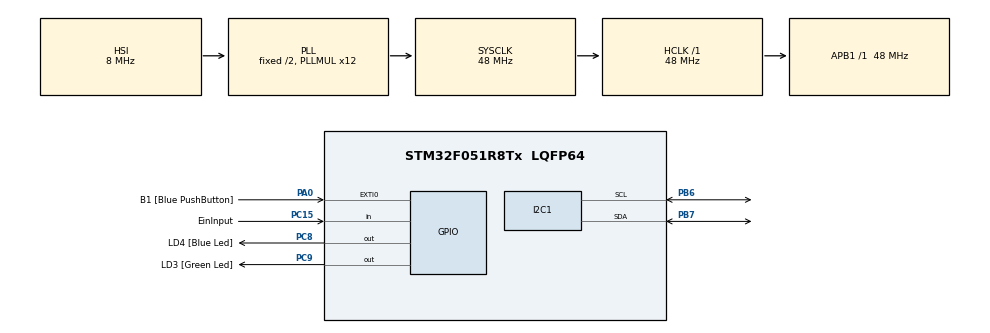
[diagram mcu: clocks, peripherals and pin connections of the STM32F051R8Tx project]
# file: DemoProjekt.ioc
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Mcu.Family=STM32F0
Mcu.Name=STM32F051R8Tx
Mcu.Package=LQFP64
NVIC.EXTI0_1_IRQn=true\:0\:0\:false\:false\:true\:true\:true
PA0.GPIO_Label=B1 [Blue PushButton]
PA0.GPIO_ModeDefaultEXTI=GPIO_MODE_IT_FALLING
PA0.GPIO_PuPd=GPIO_PULLDOWN
PA0.Signal=GPXTI0
PA13.GPIO_Label=SWDIO
PA13.Mode=Serial_Wire
PA13.Signal=SYS_SWDIO
PA14.GPIO_Label=SWCLK
PA14.Mode=Serial_Wire
PA14.Signal=SYS_SWCLK
PB6.Mode=I2C
PB6.Signal=I2C1_SCL
PB7.Mode=I2C
PB7.Signal=I2C1_SDA
PC15-OSC32_OUT.GPIO_Label=EinInput
PC15-OSC32_OUT.Signal=GPIO_Input
PC8.GPIO_Label=LD4 [Blue Led]
PC8.Signal=GPIO_Output
PC9.GPIO_Label=LD3 [Green Led]
PC9.Signal=GPIO_Output
ProjectManager.HeapSize=0x200
ProjectManager.StackSize=0x400
ProjectManager.TargetToolchain=STM32CubeIDE
RCC.AHBFreq_Value=48000000
RCC.APB1Freq_Value=48000000
RCC.APB1TimFreq_Value=48000000
RCC.HCLKFreq_Value=48000000
RCC.PLLMUL=RCC_PLL_MUL12
RCC.SYSCLKFreq_VALUE=48000000
RCC.SYSCLKSource=RCC_SYSCLKSOURCE_PLLCLK
board=STM32F0DISCOVERY

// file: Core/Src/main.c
/* USER CODE BEGIN Header */
/**
  ******************************************************************************
  * @file           : main.c
  * @brief          : Main program body
  ******************************************************************************
  * @attention
  *
  * <h2><center>&copy; Copyright (c) 2021 STMicroelectronics.
  * All rights reserved.</center></h2>
  *
  * This software component is licensed by ST under BSD 3-Clause license,
  * the "License"; You may not use this file except in compliance with the
  * License. You may obtain a copy of the License at:
  *                        opensource.org/licenses/BSD-3-Clause
  *
  ******************************************************************************
  */
/* USER CODE END Header */
#include "main.h"

I2C_HandleTypeDef hi2c1;

/* USER CODE BEGIN PV */
unsigned char buffer[5];
float currentTemperature;
float threshold;
/* USER CODE END PV */

void SystemClock_Config(void);
static void MX_GPIO_Init(void);
static void MX_I2C1_Init(void);

/* USER CODE BEGIN 0 */
volatile uint32_t i = 0;
/* USER CODE END 0 */

int main(void)
{

  /* MCU Configuration--------------------------------------------------------*/

  /* Reset of all peripherals, Initializes the Flash interface and the Systick. */
  HAL_Init();

  /* USER CODE BEGIN Init */

  //uint8_t initByte = 0xbe;
  uint8_t Byte1 = 0x71;
  uint8_t Byte2;
  uint8_t initBuffer[3];
  initBuffer[0] = 0xbe;
  initBuffer[1] = 0x08;
  initBuffer[2] = 0x00;
  uint8_t ansByte[7];
  uint32_t rawTemp;

//Temperature/Humidity sensor init
  HAL_Delay(50);
  //HAL_I2C_Master_Transmit(&hi2c1, 0x38<<1, &initByte, sizeof(initByte), 100);
  //HAL_Delay(100);
  /**HAL_I2C_Master_Receive(&hi2c1, 0x38<<1, ansByte, sizeof(ansByte), 50);
  //HAL_I2C_Master_Transmit(&hi2c1, 0x38<<1, &initByte, sizeof(initByte), 50);
  HAL_I2C_Master_Transmit(&hi2c1, 0x38<<1, initBuffer, sizeof(initBuffer), 50);
  HAL_I2C_Master_Receive(&hi2c1, 0x38<<1, ansByte, sizeof(ansByte), 50);**/

  HAL_I2C_Master_Transmit(&hi2c1, 0x38<<1, &Byte1, sizeof(Byte1), 50);
  HAL_I2C_Master_Receive(&hi2c1, 0x38<<1, &Byte2, sizeof(Byte2), 50);

  HAL_I2C_Master_Transmit(&hi2c1, 0x38<<1, initBuffer, sizeof(initBuffer), 50);

  HAL_I2C_Master_Transmit(&hi2c1, 0x38<<1, &Byte1, sizeof(Byte1), 50);
    HAL_I2C_Master_Receive(&hi2c1, 0x38<<1, &Byte2, sizeof(Byte2), 50);
  /* USER CODE END Init */

  /* Configure the system clock */
  SystemClock_Config();

  /* Initialize all configured peripherals */
  MX_GPIO_Init();
  MX_I2C1_Init();

  /* Infinite loop */
  /* USER CODE BEGIN WHILE */
  while (1)
  {
	  //LED shit
	  /**i = i + 1;
	  HAL_GPIO_WritePin(LD4_GPIO_Port, LD4_Pin, GPIO_PIN_SET);
	  HAL_Delay(100); // ms!
	  HAL_GPIO_WritePin(LD4_GPIO_Port, LD4_Pin, GPIO_PIN_RESET);
	  HAL_Delay(1000);
	  HAL_GPIO_WritePin(SWDIO_GPIO_Port, SWDIO_Pin, GPIO_PIN_SET);**/

	  //Sensor communication
	  //HAL_I2C_Master_Transmit(hi2c, DevAddress, pData, Size, Timeout);

	  //trigger measurement
	  uint8_t triggerByte = 0xAC;
	  uint8_t param1 = 0x33;
	  uint8_t param2 = 0x00;
	  unsigned char triggerBuffer[3];
	  triggerBuffer[0] = triggerByte;
	  triggerBuffer[1] = param1;
	  triggerBuffer[2] = param2;
	  HAL_I2C_Master_Transmit(&hi2c1, 0x38<<1, triggerBuffer, sizeof(triggerBuffer), 100);

	  //Wait for measurement
	  HAL_Delay(100);

	  //Receive measurement data
	  uint8_t readBuffer[7];
	  HAL_I2C_Master_Receive(&hi2c1, 0x38<<1, readBuffer, sizeof(readBuffer), 100); //Muss ich das mehrfach aufrufen?
	  rawTemp = (readBuffer[3]&0x0F)<<16 | readBuffer[4]<<8 | readBuffer[5];

	  //Calculate temperature in °C
	  currentTemperature = ((float)rawTemp/1048576) * 200 - 50;

	  //check temperature
	  if (currentTemperature < threshold) //wenn gemessene Temperatur unter Schwellwert, LED blinken lassen
	  		{
	  			HAL_GPIO_WritePin(LD4_GPIO_Port, LD4_Pin, GPIO_PIN_SET); //Blaue LED an
	  			HAL_Delay(500);
	  			HAL_GPIO_WritePin(LD4_GPIO_Port, LD4_Pin, GPIO_PIN_RESET); //Blaue LED aus
	  			HAL_Delay(500);
	  		}

    /* USER CODE END WHILE */

  }
}

void SystemClock_Config(void)
{
  RCC_OscInitTypeDef RCC_OscInitStruct = {0};
  RCC_ClkInitTypeDef RCC_ClkInitStruct = {0};
  RCC_PeriphCLKInitTypeDef PeriphClkInit = {0};

  /** Initializes the RCC Oscillators according to the specified parameters
  * in the RCC_OscInitTypeDef structure.
  */
  RCC_OscInitStruct.OscillatorType = RCC_OSCILLATORTYPE_HSI;
  RCC_OscInitStruct.HSIState = RCC_HSI_ON;
  RCC_OscInitStruct.HSICalibrationValue = RCC_HSICALIBRATION_DEFAULT;
  RCC_OscInitStruct.PLL.PLLState = RCC_PLL_ON;
  RCC_OscInitStruct.PLL.PLLSource = RCC_PLLSOURCE_HSI;
  RCC_OscInitStruct.PLL.PLLMUL = RCC_PLL_MUL12;
  RCC_OscInitStruct.PLL.PREDIV = RCC_PREDIV_DIV1;
  if (HAL_RCC_OscConfig(&RCC_OscInitStruct) != HAL_OK)
  {
    Error_Handler();
  }
  /** Initializes the CPU, AHB and APB buses clocks
  */
  RCC_ClkInitStruct.ClockType = RCC_CLOCKTYPE_HCLK|RCC_CLOCKTYPE_SYSCLK
                              |RCC_CLOCKTYPE_PCLK1;
  RCC_ClkInitStruct.SYSCLKSource = RCC_SYSCLKSOURCE_PLLCLK;
  RCC_ClkInitStruct.AHBCLKDivider = RCC_SYSCLK_DIV1;
  RCC_ClkInitStruct.APB1CLKDivider = RCC_HCLK_DIV1;

  if (HAL_RCC_ClockConfig(&RCC_ClkInitStruct, FLASH_LATENCY_1) != HAL_OK)
  {
    Error_Handler();
  }
  PeriphClkInit.PeriphClockSelection = RCC_PERIPHCLK_I2C1;
  PeriphClkInit.I2c1ClockSelection = RCC_I2C1CLKSOURCE_HSI;
  if (HAL_RCCEx_PeriphCLKConfig(&PeriphClkInit) != HAL_OK)
  {
    Error_Handler();
  }
}

static void MX_I2C1_Init(void)
{

  hi2c1.Instance = I2C1;
  hi2c1.Init.Timing = 0x2000090E;
  hi2c1.Init.OwnAddress1 = 0;
  hi2c1.Init.AddressingMode = I2C_ADDRESSINGMODE_7BIT;
  hi2c1.Init.DualAddressMode = I2C_DUALADDRESS_DISABLE;
  hi2c1.Init.OwnAddress2 = 0;
  hi2c1.Init.OwnAddress2Masks = I2C_OA2_NOMASK;
  hi2c1.Init.GeneralCallMode = I2C_GENERALCALL_DISABLE;
  hi2c1.Init.NoStretchMode = I2C_NOSTRETCH_DISABLE;
  if (HAL_I2C_Init(&hi2c1) != HAL_OK)
  {
    Error_Handler();
  }
  /** Configure Analogue filter
  */
  if (HAL_I2CEx_ConfigAnalogFilter(&hi2c1, I2C_ANALOGFILTER_ENABLE) != HAL_OK)
  {
    Error_Handler();
  }
  /** Configure Digital filter
  */
  if (HAL_I2CEx_ConfigDigitalFilter(&hi2c1, 0) != HAL_OK)
  {
    Error_Handler();
  }

}

static void MX_GPIO_Init(void)
{
  GPIO_InitTypeDef GPIO_InitStruct = {0};

  /* GPIO Ports Clock Enable */
  __HAL_RCC_GPIOC_CLK_ENABLE();
  __HAL_RCC_GPIOA_CLK_ENABLE();
  __HAL_RCC_GPIOB_CLK_ENABLE();

  /*Configure GPIO pin Output Level */
  HAL_GPIO_WritePin(GPIOC, LD4_Pin|LD3_Pin, GPIO_PIN_RESET);

  /*Configure GPIO pin : EinInput_Pin */
  GPIO_InitStruct.Pin = EinInput_Pin;
  GPIO_InitStruct.Mode = GPIO_MODE_INPUT;
  GPIO_InitStruct.Pull = GPIO_NOPULL;
  HAL_GPIO_Init(EinInput_GPIO_Port, &GPIO_InitStruct);

  /*Configure GPIO pin : B1_Pin */
  GPIO_InitStruct.Pin = B1_Pin;
  GPIO_InitStruct.Mode = GPIO_MODE_IT_FALLING;
  GPIO_InitStruct.Pull = GPIO_PULLDOWN;
  HAL_GPIO_Init(B1_GPIO_Port, &GPIO_InitStruct);

  /*Configure GPIO pins : LD4_Pin LD3_Pin */
  GPIO_InitStruct.Pin = LD4_Pin|LD3_Pin;
  GPIO_InitStruct.Mode = GPIO_MODE_OUTPUT_PP;
  GPIO_InitStruct.Pull = GPIO_NOPULL;
  GPIO_InitStruct.Speed = GPIO_SPEED_FREQ_LOW;
  HAL_GPIO_Init(GPIOC, &GPIO_InitStruct);

  /* EXTI interrupt init*/
  HAL_NVIC_SetPriority(EXTI0_1_IRQn, 0, 0);
  HAL_NVIC_EnableIRQ(EXTI0_1_IRQn);

}

/* USER CODE BEGIN 4 */
void HAL_GPIO_EXTI_Callback(uint16_t GPIO_Pin)
{
	// Interrupt: wenn blauer User-Knopf gedrückt wird, aktuelle Temperatur als Schwellwert setzen
	threshold = currentTemperature ; //Schwellwert setzen
}
/* USER CODE END 4 */

void Error_Handler(void)
{
  __disable_irq();
  while (1)
  {
  }
}

/************************ (C) COPYRIGHT STMicroelectronics *****END OF FILE****/
